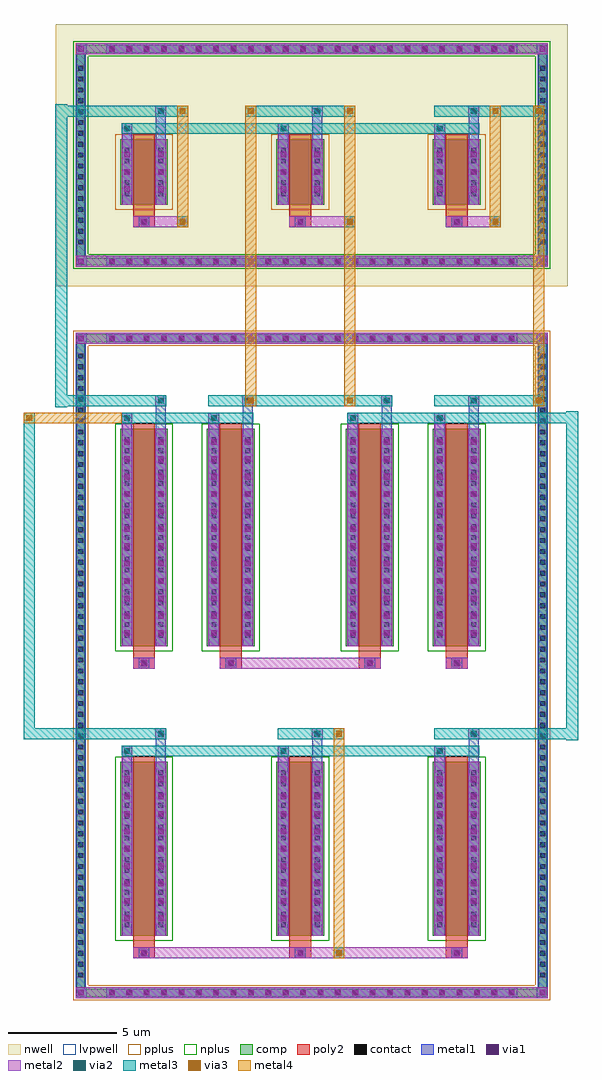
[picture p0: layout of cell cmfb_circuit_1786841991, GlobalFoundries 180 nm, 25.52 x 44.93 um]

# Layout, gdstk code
import gdstk
lib = gdstk.Library(unit=1e-6, precision=5e-09)
def R(c, l, rs):  # rectangles x0, y0, x1, y1
    for r in rs: c.add(gdstk.rectangle(r[:2], r[2:], *l))
def A(c, l, x, y, w, h, nx, ny, dx, dy):  # array of equal rectangles
    R(c, l, [(x+i*dx, y+j*dy, x+i*dx+w, y+j*dy+h) for i in range(nx) for j in range(ny)])
def P(c, l, *ps):  # polygons
    for p in ps: c.add(gdstk.Polygon(p, *l))
nwell = (21, 0)
comp = (22, 0)
poly2 = (30, 0)
pplus = (31, 0)
nplus = (32, 0)
contact = (33, 0)
metal1 = (34, 0)
via1 = (35, 0)
metal2 = (36, 0)
via2 = (38, 0)
via3 = (40, 0)
metal3 = (42, 0)
metal4 = (46, 0)
lvpwell = (204, 0)

unnamed_99d863ea = lib.new_cell('Unnamed_99d863ea')
R(unnamed_99d863ea, nwell, [(-1.45,-2.915,1.45,2.915)])
R(unnamed_99d863ea, comp, [(-1.1,-1.755,1.1,1.245)])
R(unnamed_99d863ea, poly2, [(-0.5,-2.795,0.5,-2.295), (-0.18,-2.725,0.18,-2.365), (-0.5,-2.295,0.5,-1.995), (-0.5,-1.995,0.5,1.485)])
R(unnamed_99d863ea, pplus, [(-1.33,-1.985,1.33,1.475)])
A(unnamed_99d863ea, contact, -0.89, -1.365, 0.22, 0.22, 1, 5, 0, 0.5)
A(unnamed_99d863ea, contact, 0.67, -1.365, 0.22, 0.22, 1, 5, 0, 0.5)
R(unnamed_99d863ea, contact, [(-0.11,-2.655,0.11,-2.435)])
A(unnamed_99d863ea, metal1, -1.01, -1.485, 0.46, 0.46, 1, 5, 0, 0.5)
A(unnamed_99d863ea, metal1, 0.55, -1.485, 0.46, 0.46, 1, 5, 0, 0.5)
A(unnamed_99d863ea, metal1, -1.03, -1.305, 0.5, 0.5, 1, 3, 0, 0.8)
A(unnamed_99d863ea, metal1, 0.53, -1.305, 0.5, 0.5, 1, 3, 0, 0.8)
R(unnamed_99d863ea, metal1, [(-0.25,-2.795,0.25,-2.295), (-1.01,-1.755,-0.55,1.245), (0.55,-1.755,1.01,1.245), (-1.03,-1.305,-0.53,0.795), (0.53,-1.305,1.03,0.795), (-1.01,1.245,-0.55,1.995), (0.55,1.245,1.01,2.795), (-1.03,1.495,-0.53,1.995), (0.53,2.295,1.03,2.795)])
A(unnamed_99d863ea, via1, -0.91, -1.185, 0.26, 0.26, 1, 3, 0, 0.8)
A(unnamed_99d863ea, via1, 0.65, -1.185, 0.26, 0.26, 1, 3, 0, 0.8)
R(unnamed_99d863ea, via1, [(-0.13,-2.675,0.13,-2.415), (-0.91,1.615,-0.65,1.875), (0.65,2.415,0.91,2.675)])
A(unnamed_99d863ea, metal2, -1.03, -1.305, 0.5, 0.5, 1, 3, 0, 0.8)
A(unnamed_99d863ea, metal2, 0.53, -1.305, 0.5, 0.5, 1, 3, 0, 0.8)
R(unnamed_99d863ea, metal2, [(-0.5,-2.795,0.5,-2.295), (-0.25,-2.795,0.25,-2.295), (-1.03,-1.755,-0.53,1.245), (0.53,-1.755,1.03,1.245), (-1.03,1.495,-0.53,1.995), (0.53,2.295,1.03,2.795)])
R(unnamed_99d863ea, via2, [(-0.91,1.615,-0.65,1.875), (0.65,2.415,0.91,2.675)])
R(unnamed_99d863ea, metal3, [(-1.03,1.495,-0.53,1.995), (-1.03,1.495,1.03,1.995), (-1.03,2.295,1.03,2.795), (0.53,2.295,1.03,2.795)])

unnamed_b100081d = lib.new_cell('Unnamed_b100081d')
R(unnamed_b100081d, nwell, [(-1.45,-2.915,1.45,2.915)])
R(unnamed_b100081d, comp, [(-1.1,-1.755,1.1,1.245)])
R(unnamed_b100081d, poly2, [(-0.5,-2.795,0.5,-2.295), (-0.18,-2.725,0.18,-2.365), (-0.5,-2.295,0.5,-1.995), (-0.5,-1.995,0.5,1.485)])
R(unnamed_b100081d, pplus, [(-1.33,-1.985,1.33,1.475)])
A(unnamed_b100081d, contact, -0.89, -1.365, 0.22, 0.22, 1, 5, 0, 0.5)
A(unnamed_b100081d, contact, 0.67, -1.365, 0.22, 0.22, 1, 5, 0, 0.5)
R(unnamed_b100081d, contact, [(-0.11,-2.655,0.11,-2.435)])
A(unnamed_b100081d, metal1, -1.01, -1.485, 0.46, 0.46, 1, 5, 0, 0.5)
A(unnamed_b100081d, metal1, 0.55, -1.485, 0.46, 0.46, 1, 5, 0, 0.5)
A(unnamed_b100081d, metal1, -1.03, -1.305, 0.5, 0.5, 1, 3, 0, 0.8)
A(unnamed_b100081d, metal1, 0.53, -1.305, 0.5, 0.5, 1, 3, 0, 0.8)
R(unnamed_b100081d, metal1, [(-0.25,-2.795,0.25,-2.295), (-1.01,-1.755,-0.55,1.245), (0.55,-1.755,1.01,1.245), (-1.03,-1.305,-0.53,0.795), (0.53,-1.305,1.03,0.795), (-1.01,1.245,-0.55,1.995), (0.55,1.245,1.01,2.795), (-1.03,1.495,-0.53,1.995), (0.53,2.295,1.03,2.795)])
A(unnamed_b100081d, via1, -0.91, -1.185, 0.26, 0.26, 1, 3, 0, 0.8)
A(unnamed_b100081d, via1, 0.65, -1.185, 0.26, 0.26, 1, 3, 0, 0.8)
R(unnamed_b100081d, via1, [(-0.13,-2.675,0.13,-2.415), (-0.91,1.615,-0.65,1.875), (0.65,2.415,0.91,2.675)])
A(unnamed_b100081d, metal2, -1.03, -1.305, 0.5, 0.5, 1, 3, 0, 0.8)
A(unnamed_b100081d, metal2, 0.53, -1.305, 0.5, 0.5, 1, 3, 0, 0.8)
R(unnamed_b100081d, metal2, [(-0.5,-2.795,0.5,-2.295), (-0.25,-2.795,0.25,-2.295), (-1.03,-1.755,-0.53,1.245), (0.53,-1.755,1.03,1.245), (-1.03,1.495,-0.53,1.995), (0.53,2.295,1.03,2.795)])
R(unnamed_b100081d, via2, [(-0.91,1.615,-0.65,1.875), (0.65,2.415,0.91,2.675)])
R(unnamed_b100081d, metal3, [(-1.03,1.495,-0.53,1.995), (-1.03,1.495,1.03,1.995), (-1.03,2.295,1.03,2.795), (0.53,2.295,1.03,2.795)])

unnamed_724cd2d7 = lib.new_cell('Unnamed_724cd2d7')
R(unnamed_724cd2d7, nwell, [(-1.45,-2.915,1.45,2.915)])
R(unnamed_724cd2d7, comp, [(-1.1,-1.755,1.1,1.245)])
R(unnamed_724cd2d7, poly2, [(-0.5,-2.795,0.5,-2.295), (-0.18,-2.725,0.18,-2.365), (-0.5,-2.295,0.5,-1.995), (-0.5,-1.995,0.5,1.485)])
R(unnamed_724cd2d7, pplus, [(-1.33,-1.985,1.33,1.475)])
A(unnamed_724cd2d7, contact, -0.89, -1.365, 0.22, 0.22, 1, 5, 0, 0.5)
A(unnamed_724cd2d7, contact, 0.67, -1.365, 0.22, 0.22, 1, 5, 0, 0.5)
R(unnamed_724cd2d7, contact, [(-0.11,-2.655,0.11,-2.435)])
A(unnamed_724cd2d7, metal1, -1.01, -1.485, 0.46, 0.46, 1, 5, 0, 0.5)
A(unnamed_724cd2d7, metal1, 0.55, -1.485, 0.46, 0.46, 1, 5, 0, 0.5)
A(unnamed_724cd2d7, metal1, -1.03, -1.305, 0.5, 0.5, 1, 3, 0, 0.8)
A(unnamed_724cd2d7, metal1, 0.53, -1.305, 0.5, 0.5, 1, 3, 0, 0.8)
R(unnamed_724cd2d7, metal1, [(-0.25,-2.795,0.25,-2.295), (-1.01,-1.755,-0.55,1.245), (0.55,-1.755,1.01,1.245), (-1.03,-1.305,-0.53,0.795), (0.53,-1.305,1.03,0.795), (-1.01,1.245,-0.55,1.995), (0.55,1.245,1.01,2.795), (-1.03,1.495,-0.53,1.995), (0.53,2.295,1.03,2.795)])
A(unnamed_724cd2d7, via1, -0.91, -1.185, 0.26, 0.26, 1, 3, 0, 0.8)
A(unnamed_724cd2d7, via1, 0.65, -1.185, 0.26, 0.26, 1, 3, 0, 0.8)
R(unnamed_724cd2d7, via1, [(-0.13,-2.675,0.13,-2.415), (-0.91,1.615,-0.65,1.875), (0.65,2.415,0.91,2.675)])
A(unnamed_724cd2d7, metal2, -1.03, -1.305, 0.5, 0.5, 1, 3, 0, 0.8)
A(unnamed_724cd2d7, metal2, 0.53, -1.305, 0.5, 0.5, 1, 3, 0, 0.8)
R(unnamed_724cd2d7, metal2, [(-0.5,-2.795,0.5,-2.295), (-0.25,-2.795,0.25,-2.295), (-1.03,-1.755,-0.53,1.245), (0.53,-1.755,1.03,1.245), (-1.03,1.495,-0.53,1.995), (0.53,2.295,1.03,2.795)])
R(unnamed_724cd2d7, via2, [(-0.91,1.615,-0.65,1.875), (0.65,2.415,0.91,2.675)])
R(unnamed_724cd2d7, metal3, [(-1.03,1.495,-0.53,1.995), (-1.03,1.495,1.03,1.995), (-1.03,2.295,1.03,2.795), (0.53,2.295,1.03,2.795)])

unnamed_6b7dd680 = lib.new_cell('Unnamed_6b7dd680')
R(unnamed_6b7dd680, comp, [(-1.1,-5.255,1.1,4.745)])
R(unnamed_6b7dd680, poly2, [(-0.5,-6.295,0.5,-5.795), (-0.18,-6.225,0.18,-5.865), (-0.5,-5.795,0.5,-5.495), (-0.5,-5.495,0.5,4.985)])
R(unnamed_6b7dd680, nplus, [(-1.33,-5.485,1.33,4.975)])
A(unnamed_6b7dd680, contact, -0.89, -4.865, 0.22, 0.22, 1, 19, 0, 0.5)
A(unnamed_6b7dd680, contact, 0.67, -4.865, 0.22, 0.22, 1, 19, 0, 0.5)
R(unnamed_6b7dd680, contact, [(-0.11,-6.155,0.11,-5.935)])
A(unnamed_6b7dd680, metal1, -1.01, -4.985, 0.46, 0.46, 1, 19, 0, 0.5)
A(unnamed_6b7dd680, metal1, 0.55, -4.985, 0.46, 0.46, 1, 19, 0, 0.5)
A(unnamed_6b7dd680, metal1, -1.03, -4.905, 0.5, 0.5, 1, 12, 0, 0.8)
A(unnamed_6b7dd680, metal1, 0.53, -4.905, 0.5, 0.5, 1, 12, 0, 0.8)
R(unnamed_6b7dd680, metal1, [(-0.25,-6.295,0.25,-5.795), (-1.01,-5.255,-0.55,4.745), (0.55,-5.255,1.01,4.745), (-1.03,-4.905,-0.53,4.395), (0.53,-4.905,1.03,4.395), (-1.01,4.745,-0.55,5.495), (0.55,4.745,1.01,6.295), (-1.03,4.995,-0.53,5.495), (0.53,5.795,1.03,6.295)])
A(unnamed_6b7dd680, via1, -0.91, -4.785, 0.26, 0.26, 1, 12, 0, 0.8)
A(unnamed_6b7dd680, via1, 0.65, -4.785, 0.26, 0.26, 1, 12, 0, 0.8)
R(unnamed_6b7dd680, via1, [(-0.13,-6.175,0.13,-5.915), (-0.91,5.115,-0.65,5.375), (0.65,5.915,0.91,6.175)])
A(unnamed_6b7dd680, metal2, -1.03, -4.905, 0.5, 0.5, 1, 12, 0, 0.8)
A(unnamed_6b7dd680, metal2, 0.53, -4.905, 0.5, 0.5, 1, 12, 0, 0.8)
R(unnamed_6b7dd680, metal2, [(-0.5,-6.295,0.5,-5.795), (-0.25,-6.295,0.25,-5.795), (-1.03,-5.255,-0.53,4.745), (0.53,-5.255,1.03,4.745), (-1.03,4.995,-0.53,5.495), (0.53,5.795,1.03,6.295)])
R(unnamed_6b7dd680, via2, [(-0.91,5.115,-0.65,5.375), (0.65,5.915,0.91,6.175)])
R(unnamed_6b7dd680, metal3, [(-1.03,4.995,-0.53,5.495), (-1.03,4.995,1.03,5.495), (-1.03,5.795,1.03,6.295), (0.53,5.795,1.03,6.295)])
R(unnamed_6b7dd680, lvpwell, [(-1.45,-6.415,1.45,6.415)])

unnamed_0d4af0c3 = lib.new_cell('Unnamed_0d4af0c3')
R(unnamed_0d4af0c3, comp, [(-1.1,-5.255,1.1,4.745)])
R(unnamed_0d4af0c3, poly2, [(-0.5,-6.295,0.5,-5.795), (-0.18,-6.225,0.18,-5.865), (-0.5,-5.795,0.5,-5.495), (-0.5,-5.495,0.5,4.985)])
R(unnamed_0d4af0c3, nplus, [(-1.33,-5.485,1.33,4.975)])
A(unnamed_0d4af0c3, contact, -0.89, -4.865, 0.22, 0.22, 1, 19, 0, 0.5)
A(unnamed_0d4af0c3, contact, 0.67, -4.865, 0.22, 0.22, 1, 19, 0, 0.5)
R(unnamed_0d4af0c3, contact, [(-0.11,-6.155,0.11,-5.935)])
A(unnamed_0d4af0c3, metal1, -1.01, -4.985, 0.46, 0.46, 1, 19, 0, 0.5)
A(unnamed_0d4af0c3, metal1, 0.55, -4.985, 0.46, 0.46, 1, 19, 0, 0.5)
A(unnamed_0d4af0c3, metal1, -1.03, -4.905, 0.5, 0.5, 1, 12, 0, 0.8)
A(unnamed_0d4af0c3, metal1, 0.53, -4.905, 0.5, 0.5, 1, 12, 0, 0.8)
R(unnamed_0d4af0c3, metal1, [(-0.25,-6.295,0.25,-5.795), (-1.01,-5.255,-0.55,4.745), (0.55,-5.255,1.01,4.745), (-1.03,-4.905,-0.53,4.395), (0.53,-4.905,1.03,4.395), (-1.01,4.745,-0.55,5.495), (0.55,4.745,1.01,6.295), (-1.03,4.995,-0.53,5.495), (0.53,5.795,1.03,6.295)])
A(unnamed_0d4af0c3, via1, -0.91, -4.785, 0.26, 0.26, 1, 12, 0, 0.8)
A(unnamed_0d4af0c3, via1, 0.65, -4.785, 0.26, 0.26, 1, 12, 0, 0.8)
R(unnamed_0d4af0c3, via1, [(-0.13,-6.175,0.13,-5.915), (-0.91,5.115,-0.65,5.375), (0.65,5.915,0.91,6.175)])
A(unnamed_0d4af0c3, metal2, -1.03, -4.905, 0.5, 0.5, 1, 12, 0, 0.8)
A(unnamed_0d4af0c3, metal2, 0.53, -4.905, 0.5, 0.5, 1, 12, 0, 0.8)
R(unnamed_0d4af0c3, metal2, [(-0.5,-6.295,0.5,-5.795), (-0.25,-6.295,0.25,-5.795), (-1.03,-5.255,-0.53,4.745), (0.53,-5.255,1.03,4.745), (-1.03,4.995,-0.53,5.495), (0.53,5.795,1.03,6.295)])
R(unnamed_0d4af0c3, via2, [(-0.91,5.115,-0.65,5.375), (0.65,5.915,0.91,6.175)])
R(unnamed_0d4af0c3, metal3, [(-1.03,4.995,-0.53,5.495), (-1.03,4.995,1.03,5.495), (-1.03,5.795,1.03,6.295), (0.53,5.795,1.03,6.295)])
R(unnamed_0d4af0c3, lvpwell, [(-1.45,-6.415,1.45,6.415)])

unnamed_9ebab524 = lib.new_cell('Unnamed_9ebab524')
R(unnamed_9ebab524, comp, [(-1.1,-5.255,1.1,4.745)])
R(unnamed_9ebab524, poly2, [(-0.5,-6.295,0.5,-5.795), (-0.18,-6.225,0.18,-5.865), (-0.5,-5.795,0.5,-5.495), (-0.5,-5.495,0.5,4.985)])
R(unnamed_9ebab524, nplus, [(-1.33,-5.485,1.33,4.975)])
A(unnamed_9ebab524, contact, -0.89, -4.865, 0.22, 0.22, 1, 19, 0, 0.5)
A(unnamed_9ebab524, contact, 0.67, -4.865, 0.22, 0.22, 1, 19, 0, 0.5)
R(unnamed_9ebab524, contact, [(-0.11,-6.155,0.11,-5.935)])
A(unnamed_9ebab524, metal1, -1.01, -4.985, 0.46, 0.46, 1, 19, 0, 0.5)
A(unnamed_9ebab524, metal1, 0.55, -4.985, 0.46, 0.46, 1, 19, 0, 0.5)
A(unnamed_9ebab524, metal1, -1.03, -4.905, 0.5, 0.5, 1, 12, 0, 0.8)
A(unnamed_9ebab524, metal1, 0.53, -4.905, 0.5, 0.5, 1, 12, 0, 0.8)
R(unnamed_9ebab524, metal1, [(-0.25,-6.295,0.25,-5.795), (-1.01,-5.255,-0.55,4.745), (0.55,-5.255,1.01,4.745), (-1.03,-4.905,-0.53,4.395), (0.53,-4.905,1.03,4.395), (-1.01,4.745,-0.55,5.495), (0.55,4.745,1.01,6.295), (-1.03,4.995,-0.53,5.495), (0.53,5.795,1.03,6.295)])
A(unnamed_9ebab524, via1, -0.91, -4.785, 0.26, 0.26, 1, 12, 0, 0.8)
A(unnamed_9ebab524, via1, 0.65, -4.785, 0.26, 0.26, 1, 12, 0, 0.8)
R(unnamed_9ebab524, via1, [(-0.13,-6.175,0.13,-5.915), (-0.91,5.115,-0.65,5.375), (0.65,5.915,0.91,6.175)])
A(unnamed_9ebab524, metal2, -1.03, -4.905, 0.5, 0.5, 1, 12, 0, 0.8)
A(unnamed_9ebab524, metal2, 0.53, -4.905, 0.5, 0.5, 1, 12, 0, 0.8)
R(unnamed_9ebab524, metal2, [(-0.5,-6.295,0.5,-5.795), (-0.25,-6.295,0.25,-5.795), (-1.03,-5.255,-0.53,4.745), (0.53,-5.255,1.03,4.745), (-1.03,4.995,-0.53,5.495), (0.53,5.795,1.03,6.295)])
R(unnamed_9ebab524, via2, [(-0.91,5.115,-0.65,5.375), (0.65,5.915,0.91,6.175)])
R(unnamed_9ebab524, metal3, [(-1.03,4.995,-0.53,5.495), (-1.03,4.995,1.03,5.495), (-1.03,5.795,1.03,6.295), (0.53,5.795,1.03,6.295)])
R(unnamed_9ebab524, lvpwell, [(-1.45,-6.415,1.45,6.415)])

unnamed_8c9a08c9 = lib.new_cell('Unnamed_8c9a08c9')
R(unnamed_8c9a08c9, comp, [(-1.1,-5.255,1.1,4.745)])
R(unnamed_8c9a08c9, poly2, [(-0.5,-6.295,0.5,-5.795), (-0.18,-6.225,0.18,-5.865), (-0.5,-5.795,0.5,-5.495), (-0.5,-5.495,0.5,4.985)])
R(unnamed_8c9a08c9, nplus, [(-1.33,-5.485,1.33,4.975)])
A(unnamed_8c9a08c9, contact, -0.89, -4.865, 0.22, 0.22, 1, 19, 0, 0.5)
A(unnamed_8c9a08c9, contact, 0.67, -4.865, 0.22, 0.22, 1, 19, 0, 0.5)
R(unnamed_8c9a08c9, contact, [(-0.11,-6.155,0.11,-5.935)])
A(unnamed_8c9a08c9, metal1, -1.01, -4.985, 0.46, 0.46, 1, 19, 0, 0.5)
A(unnamed_8c9a08c9, metal1, 0.55, -4.985, 0.46, 0.46, 1, 19, 0, 0.5)
A(unnamed_8c9a08c9, metal1, -1.03, -4.905, 0.5, 0.5, 1, 12, 0, 0.8)
A(unnamed_8c9a08c9, metal1, 0.53, -4.905, 0.5, 0.5, 1, 12, 0, 0.8)
R(unnamed_8c9a08c9, metal1, [(-0.25,-6.295,0.25,-5.795), (-1.01,-5.255,-0.55,4.745), (0.55,-5.255,1.01,4.745), (-1.03,-4.905,-0.53,4.395), (0.53,-4.905,1.03,4.395), (-1.01,4.745,-0.55,5.495), (0.55,4.745,1.01,6.295), (-1.03,4.995,-0.53,5.495), (0.53,5.795,1.03,6.295)])
A(unnamed_8c9a08c9, via1, -0.91, -4.785, 0.26, 0.26, 1, 12, 0, 0.8)
A(unnamed_8c9a08c9, via1, 0.65, -4.785, 0.26, 0.26, 1, 12, 0, 0.8)
R(unnamed_8c9a08c9, via1, [(-0.13,-6.175,0.13,-5.915), (-0.91,5.115,-0.65,5.375), (0.65,5.915,0.91,6.175)])
A(unnamed_8c9a08c9, metal2, -1.03, -4.905, 0.5, 0.5, 1, 12, 0, 0.8)
A(unnamed_8c9a08c9, metal2, 0.53, -4.905, 0.5, 0.5, 1, 12, 0, 0.8)
R(unnamed_8c9a08c9, metal2, [(-0.5,-6.295,0.5,-5.795), (-0.25,-6.295,0.25,-5.795), (-1.03,-5.255,-0.53,4.745), (0.53,-5.255,1.03,4.745), (-1.03,4.995,-0.53,5.495), (0.53,5.795,1.03,6.295)])
R(unnamed_8c9a08c9, via2, [(-0.91,5.115,-0.65,5.375), (0.65,5.915,0.91,6.175)])
R(unnamed_8c9a08c9, metal3, [(-1.03,4.995,-0.53,5.495), (-1.03,4.995,1.03,5.495), (-1.03,5.795,1.03,6.295), (0.53,5.795,1.03,6.295)])
R(unnamed_8c9a08c9, lvpwell, [(-1.45,-6.415,1.45,6.415)])

unnamed_374ca18e = lib.new_cell('Unnamed_374ca18e')
R(unnamed_374ca18e, comp, [(-1.1,-4.255,1.1,3.745)])
R(unnamed_374ca18e, poly2, [(-0.5,-5.295,0.5,-4.795), (-0.18,-5.225,0.18,-4.865), (-0.5,-4.795,0.5,-4.495), (-0.5,-4.495,0.5,3.985)])
R(unnamed_374ca18e, nplus, [(-1.33,-4.485,1.33,3.975)])
A(unnamed_374ca18e, contact, -0.89, -3.865, 0.22, 0.22, 1, 15, 0, 0.5)
A(unnamed_374ca18e, contact, 0.67, -3.865, 0.22, 0.22, 1, 15, 0, 0.5)
R(unnamed_374ca18e, contact, [(-0.11,-5.155,0.11,-4.935)])
A(unnamed_374ca18e, metal1, -1.01, -3.985, 0.46, 0.46, 1, 15, 0, 0.5)
A(unnamed_374ca18e, metal1, 0.55, -3.985, 0.46, 0.46, 1, 15, 0, 0.5)
A(unnamed_374ca18e, metal1, -1.03, -3.705, 0.5, 0.5, 1, 9, 0, 0.8)
A(unnamed_374ca18e, metal1, 0.53, -3.705, 0.5, 0.5, 1, 9, 0, 0.8)
R(unnamed_374ca18e, metal1, [(-0.25,-5.295,0.25,-4.795), (-1.01,-4.255,-0.55,3.745), (0.55,-4.255,1.01,3.745), (-1.03,-3.705,-0.53,3.195), (0.53,-3.705,1.03,3.195), (-1.01,3.745,-0.55,4.495), (0.55,3.745,1.01,5.295), (-1.03,3.995,-0.53,4.495), (0.53,4.795,1.03,5.295)])
A(unnamed_374ca18e, via1, -0.91, -3.585, 0.26, 0.26, 1, 9, 0, 0.8)
A(unnamed_374ca18e, via1, 0.65, -3.585, 0.26, 0.26, 1, 9, 0, 0.8)
R(unnamed_374ca18e, via1, [(-0.13,-5.175,0.13,-4.915), (-0.91,4.115,-0.65,4.375), (0.65,4.915,0.91,5.175)])
A(unnamed_374ca18e, metal2, -1.03, -3.705, 0.5, 0.5, 1, 9, 0, 0.8)
A(unnamed_374ca18e, metal2, 0.53, -3.705, 0.5, 0.5, 1, 9, 0, 0.8)
R(unnamed_374ca18e, metal2, [(-0.5,-5.295,0.5,-4.795), (-0.25,-5.295,0.25,-4.795), (-1.03,-4.255,-0.53,3.745), (0.53,-4.255,1.03,3.745), (-1.03,3.995,-0.53,4.495), (0.53,4.795,1.03,5.295)])
R(unnamed_374ca18e, via2, [(-0.91,4.115,-0.65,4.375), (0.65,4.915,0.91,5.175)])
R(unnamed_374ca18e, metal3, [(-1.03,3.995,-0.53,4.495), (-1.03,3.995,1.03,4.495), (-1.03,4.795,1.03,5.295), (0.53,4.795,1.03,5.295)])
R(unnamed_374ca18e, lvpwell, [(-1.45,-5.415,1.45,5.415)])

unnamed_d420d16e = lib.new_cell('Unnamed_d420d16e')
R(unnamed_d420d16e, comp, [(-1.1,-4.255,1.1,3.745)])
R(unnamed_d420d16e, poly2, [(-0.5,-5.295,0.5,-4.795), (-0.18,-5.225,0.18,-4.865), (-0.5,-4.795,0.5,-4.495), (-0.5,-4.495,0.5,3.985)])
R(unnamed_d420d16e, nplus, [(-1.33,-4.485,1.33,3.975)])
A(unnamed_d420d16e, contact, -0.89, -3.865, 0.22, 0.22, 1, 15, 0, 0.5)
A(unnamed_d420d16e, contact, 0.67, -3.865, 0.22, 0.22, 1, 15, 0, 0.5)
R(unnamed_d420d16e, contact, [(-0.11,-5.155,0.11,-4.935)])
A(unnamed_d420d16e, metal1, -1.01, -3.985, 0.46, 0.46, 1, 15, 0, 0.5)
A(unnamed_d420d16e, metal1, 0.55, -3.985, 0.46, 0.46, 1, 15, 0, 0.5)
A(unnamed_d420d16e, metal1, -1.03, -3.705, 0.5, 0.5, 1, 9, 0, 0.8)
A(unnamed_d420d16e, metal1, 0.53, -3.705, 0.5, 0.5, 1, 9, 0, 0.8)
R(unnamed_d420d16e, metal1, [(-0.25,-5.295,0.25,-4.795), (-1.01,-4.255,-0.55,3.745), (0.55,-4.255,1.01,3.745), (-1.03,-3.705,-0.53,3.195), (0.53,-3.705,1.03,3.195), (-1.01,3.745,-0.55,4.495), (0.55,3.745,1.01,5.295), (-1.03,3.995,-0.53,4.495), (0.53,4.795,1.03,5.295)])
A(unnamed_d420d16e, via1, -0.91, -3.585, 0.26, 0.26, 1, 9, 0, 0.8)
A(unnamed_d420d16e, via1, 0.65, -3.585, 0.26, 0.26, 1, 9, 0, 0.8)
R(unnamed_d420d16e, via1, [(-0.13,-5.175,0.13,-4.915), (-0.91,4.115,-0.65,4.375), (0.65,4.915,0.91,5.175)])
A(unnamed_d420d16e, metal2, -1.03, -3.705, 0.5, 0.5, 1, 9, 0, 0.8)
A(unnamed_d420d16e, metal2, 0.53, -3.705, 0.5, 0.5, 1, 9, 0, 0.8)
R(unnamed_d420d16e, metal2, [(-0.5,-5.295,0.5,-4.795), (-0.25,-5.295,0.25,-4.795), (-1.03,-4.255,-0.53,3.745), (0.53,-4.255,1.03,3.745), (-1.03,3.995,-0.53,4.495), (0.53,4.795,1.03,5.295)])
R(unnamed_d420d16e, via2, [(-0.91,4.115,-0.65,4.375), (0.65,4.915,0.91,5.175)])
R(unnamed_d420d16e, metal3, [(-1.03,3.995,-0.53,4.495), (-1.03,3.995,1.03,4.495), (-1.03,4.795,1.03,5.295), (0.53,4.795,1.03,5.295)])
R(unnamed_d420d16e, lvpwell, [(-1.45,-5.415,1.45,5.415)])

unnamed_8b59ac5c = lib.new_cell('Unnamed_8b59ac5c')
R(unnamed_8b59ac5c, comp, [(-1.1,-4.255,1.1,3.745)])
R(unnamed_8b59ac5c, poly2, [(-0.5,-5.295,0.5,-4.795), (-0.18,-5.225,0.18,-4.865), (-0.5,-4.795,0.5,-4.495), (-0.5,-4.495,0.5,3.985)])
R(unnamed_8b59ac5c, nplus, [(-1.33,-4.485,1.33,3.975)])
A(unnamed_8b59ac5c, contact, -0.89, -3.865, 0.22, 0.22, 1, 15, 0, 0.5)
A(unnamed_8b59ac5c, contact, 0.67, -3.865, 0.22, 0.22, 1, 15, 0, 0.5)
R(unnamed_8b59ac5c, contact, [(-0.11,-5.155,0.11,-4.935)])
A(unnamed_8b59ac5c, metal1, -1.01, -3.985, 0.46, 0.46, 1, 15, 0, 0.5)
A(unnamed_8b59ac5c, metal1, 0.55, -3.985, 0.46, 0.46, 1, 15, 0, 0.5)
A(unnamed_8b59ac5c, metal1, -1.03, -3.705, 0.5, 0.5, 1, 9, 0, 0.8)
A(unnamed_8b59ac5c, metal1, 0.53, -3.705, 0.5, 0.5, 1, 9, 0, 0.8)
R(unnamed_8b59ac5c, metal1, [(-0.25,-5.295,0.25,-4.795), (-1.01,-4.255,-0.55,3.745), (0.55,-4.255,1.01,3.745), (-1.03,-3.705,-0.53,3.195), (0.53,-3.705,1.03,3.195), (-1.01,3.745,-0.55,4.495), (0.55,3.745,1.01,5.295), (-1.03,3.995,-0.53,4.495), (0.53,4.795,1.03,5.295)])
A(unnamed_8b59ac5c, via1, -0.91, -3.585, 0.26, 0.26, 1, 9, 0, 0.8)
A(unnamed_8b59ac5c, via1, 0.65, -3.585, 0.26, 0.26, 1, 9, 0, 0.8)
R(unnamed_8b59ac5c, via1, [(-0.13,-5.175,0.13,-4.915), (-0.91,4.115,-0.65,4.375), (0.65,4.915,0.91,5.175)])
A(unnamed_8b59ac5c, metal2, -1.03, -3.705, 0.5, 0.5, 1, 9, 0, 0.8)
A(unnamed_8b59ac5c, metal2, 0.53, -3.705, 0.5, 0.5, 1, 9, 0, 0.8)
R(unnamed_8b59ac5c, metal2, [(-0.5,-5.295,0.5,-4.795), (-0.25,-5.295,0.25,-4.795), (-1.03,-4.255,-0.53,3.745), (0.53,-4.255,1.03,3.745), (-1.03,3.995,-0.53,4.495), (0.53,4.795,1.03,5.295)])
R(unnamed_8b59ac5c, via2, [(-0.91,4.115,-0.65,4.375), (0.65,4.915,0.91,5.175)])
R(unnamed_8b59ac5c, metal3, [(-1.03,3.995,-0.53,4.495), (-1.03,3.995,1.03,4.495), (-1.03,4.795,1.03,5.295), (0.53,4.795,1.03,5.295)])
R(unnamed_8b59ac5c, lvpwell, [(-1.45,-5.415,1.45,5.415)])

unnamed_7fb3ace8_1 = lib.new_cell('Unnamed_7fb3ace8$1')
A(unnamed_7fb3ace8_1, comp, -9.38, -15.24, 0.36, 0.36, 24, 2, 0.8, 30.12)
A(unnamed_7fb3ace8_1, comp, -10.815, -14.43, 0.36, 0.36, 1, 58, 0, 0.5)
A(unnamed_7fb3ace8_1, comp, 10.455, -14.43, 0.36, 0.36, 1, 58, 0, 0.5)
R(unnamed_7fb3ace8_1, comp, [(-9.38,-15.24,9.38,-14.88), (-10.815,-14.43,-10.455,14.43), (10.455,-14.43,10.815,14.43), (-9.38,14.88,9.38,15.24)])
P(unnamed_7fb3ace8_1, comp, [(-10.815,-15.24),(-10.815,-14.88),(-10.455,-14.88),(10.455,-14.88),(10.455,14.88),(-10.455,14.88),(-10.455,-14.88),(-10.815,-14.88),(-10.815,15.24),(10.815,15.24),(10.815,-15.24)])
P(unnamed_7fb3ace8_1, pplus, [(-10.975,-15.4),(-10.975,-14.72),(-10.295,-14.72),(10.295,-14.72),(10.295,14.72),(-10.295,14.72),(-10.295,-14.72),(-10.975,-14.72),(-10.975,15.4),(10.975,15.4),(10.975,-15.4)])
A(unnamed_7fb3ace8_1, contact, -9.31, -15.17, 0.22, 0.22, 24, 2, 0.8, 30.12)
A(unnamed_7fb3ace8_1, contact, -10.745, -14.36, 0.22, 0.22, 1, 58, 0, 0.5)
A(unnamed_7fb3ace8_1, contact, 10.525, -14.36, 0.22, 0.22, 1, 58, 0, 0.5)
A(unnamed_7fb3ace8_1, metal1, -9.45, -15.31, 0.5, 0.5, 24, 2, 0.8, 30.12)
A(unnamed_7fb3ace8_1, metal1, -10.865, -14.48, 0.46, 0.46, 1, 58, 0, 0.5)
A(unnamed_7fb3ace8_1, metal1, 10.405, -14.48, 0.46, 0.46, 1, 58, 0, 0.5)
R(unnamed_7fb3ace8_1, metal1, [(-10.865,-15.31,-10.365,-14.81), (-10.865,-15.31,-10.365,-14.81), (-10.865,-15.31,-10.405,-14.88), (-9.45,-15.31,9.45,-14.81), (10.365,-15.31,10.865,-14.81), (10.365,-15.31,10.865,-14.81), (10.405,-15.31,10.865,-14.88), (-10.865,-14.88,-10.405,14.88), (10.405,-14.88,10.865,14.88), (-10.865,14.81,-10.365,15.31), (-10.865,14.81,-10.365,15.31), (-9.45,14.81,9.45,15.31), (10.365,14.81,10.865,15.31), (10.365,14.81,10.865,15.31), (-10.865,14.88,-10.405,15.31), (10.405,14.88,10.865,15.31)])
A(unnamed_7fb3ace8_1, via1, -9.33, -15.19, 0.26, 0.26, 24, 2, 0.8, 30.12)
R(unnamed_7fb3ace8_1, via1, [(-10.745,-15.19,-10.485,-14.93), (10.485,-15.19,10.745,-14.93), (-10.745,14.93,-10.485,15.19), (10.485,14.93,10.745,15.19)])
A(unnamed_7fb3ace8_1, metal2, -9.45, -15.31, 0.5, 0.5, 24, 2, 0.8, 30.12)
R(unnamed_7fb3ace8_1, metal2, [(-10.865,-15.31,-10.455,-14.81), (-10.865,-15.31,-10.365,-14.81), (-10.865,-15.31,-10.365,-14.81), (-10.455,-15.31,10.455,-14.81), (10.365,-15.31,10.865,-14.81), (10.365,-15.31,10.865,-14.81), (10.455,-15.31,10.865,-14.81), (-10.865,14.81,-10.455,15.31), (-10.865,14.81,-10.365,15.31), (-10.865,14.81,-10.365,15.31), (-10.455,14.81,10.455,15.31), (10.365,14.81,10.865,15.31), (10.365,14.81,10.865,15.31), (10.455,14.81,10.865,15.31)])

unnamed_f82331e1_1 = lib.new_cell('Unnamed_f82331e1$1')
A(unnamed_f82331e1_1, comp, -9.38, -5.075, 0.36, 0.36, 24, 2, 0.8, 9.79)
A(unnamed_f82331e1_1, comp, -10.815, -4.18, 0.36, 0.36, 1, 17, 0, 0.5)
A(unnamed_f82331e1_1, comp, 10.455, -4.18, 0.36, 0.36, 1, 17, 0, 0.5)
R(unnamed_f82331e1_1, comp, [(-9.38,-5.075,9.38,-4.715), (-10.815,-4.18,-10.455,4.18), (10.455,-4.18,10.815,4.18), (-9.38,4.715,9.38,5.075)])
P(unnamed_f82331e1_1, comp, [(-10.815,-5.075),(-10.815,-4.715),(-10.455,-4.715),(10.455,-4.715),(10.455,4.715),(-10.455,4.715),(-10.455,-4.715),(-10.815,-4.715),(-10.815,5.075),(10.815,5.075),(10.815,-5.075)])
P(unnamed_f82331e1_1, nplus, [(-10.975,-5.235),(-10.975,-4.555),(-10.295,-4.555),(10.295,-4.555),(10.295,4.555),(-10.295,4.555),(-10.295,-4.555),(-10.975,-4.555),(-10.975,5.235),(10.975,5.235),(10.975,-5.235)])
A(unnamed_f82331e1_1, contact, -9.31, -5.005, 0.22, 0.22, 24, 2, 0.8, 9.79)
A(unnamed_f82331e1_1, contact, -10.745, -4.11, 0.22, 0.22, 1, 17, 0, 0.5)
A(unnamed_f82331e1_1, contact, 10.525, -4.11, 0.22, 0.22, 1, 17, 0, 0.5)
A(unnamed_f82331e1_1, metal1, -9.45, -5.145, 0.5, 0.5, 24, 2, 0.8, 9.79)
A(unnamed_f82331e1_1, metal1, -10.865, -4.23, 0.46, 0.46, 1, 17, 0, 0.5)
A(unnamed_f82331e1_1, metal1, 10.405, -4.23, 0.46, 0.46, 1, 17, 0, 0.5)
R(unnamed_f82331e1_1, metal1, [(-10.865,-5.145,-10.365,-4.645), (-10.865,-5.145,-10.365,-4.645), (-10.865,-5.145,-10.405,-4.715), (-9.45,-5.145,9.45,-4.645), (10.365,-5.145,10.865,-4.645), (10.365,-5.145,10.865,-4.645), (10.405,-5.145,10.865,-4.715), (-10.865,-4.715,-10.405,4.715), (10.405,-4.715,10.865,4.715), (-10.865,4.645,-10.365,5.145), (-10.865,4.645,-10.365,5.145), (-9.45,4.645,9.45,5.145), (10.365,4.645,10.865,5.145), (10.365,4.645,10.865,5.145), (-10.865,4.715,-10.405,5.145), (10.405,4.715,10.865,5.145)])
A(unnamed_f82331e1_1, via1, -9.33, -5.025, 0.26, 0.26, 24, 2, 0.8, 9.79)
R(unnamed_f82331e1_1, via1, [(-10.745,-5.025,-10.485,-4.765), (10.485,-5.025,10.745,-4.765), (-10.745,4.765,-10.485,5.025), (10.485,4.765,10.745,5.025)])
A(unnamed_f82331e1_1, metal2, -9.45, -5.145, 0.5, 0.5, 24, 2, 0.8, 9.79)
R(unnamed_f82331e1_1, metal2, [(-10.865,-5.145,-10.455,-4.645), (-10.865,-5.145,-10.365,-4.645), (-10.865,-5.145,-10.365,-4.645), (-10.455,-5.145,10.455,-4.645), (10.365,-5.145,10.865,-4.645), (10.365,-5.145,10.865,-4.645), (10.455,-5.145,10.865,-4.645), (-10.865,4.645,-10.455,5.145), (-10.865,4.645,-10.365,5.145), (-10.865,4.645,-10.365,5.145), (-10.455,4.645,10.455,5.145), (10.365,4.645,10.865,5.145), (10.365,4.645,10.865,5.145), (10.455,4.645,10.865,5.145)])

c_route_06cb7801 = lib.new_cell('c_route_06cb7801')
R(c_route_06cb7801, metal2, [(-6.7,28.365,-5.17,28.865), (-5.67,28.365,-5.17,28.865)])
R(c_route_06cb7801, via2, [(-5.55,28.485,-5.29,28.745)])
R(c_route_06cb7801, via3, [(-5.55,28.485,-5.29,28.745), (-5.55,33.575,-5.29,33.835)])
R(c_route_06cb7801, metal3, [(-5.67,28.365,-5.17,28.865), (-6.17,33.455,-5.17,33.955), (-5.67,33.455,-5.17,33.955)])
R(c_route_06cb7801, metal4, [(-5.67,28.365,-5.17,28.865), (-5.67,28.365,-5.17,33.955), (-5.67,33.455,-5.17,33.955)])
P(c_route_06cb7801, metal4, [(-5.17,28.365),(-5.17,28.865),(-5.17,28.865),(-5.17,28.365)],
  [(-5.17,33.455),(-5.17,33.955),(-5.17,33.955),(-5.17,33.455)])

c_route_da4d12c7_1 = lib.new_cell('c_route_da4d12c7$1')
R(c_route_da4d12c7_1, metal2, [(0.5,28.365,2.53,28.865), (2.03,28.365,2.53,28.865)])
R(c_route_da4d12c7_1, via2, [(2.15,28.485,2.41,28.745)])
R(c_route_da4d12c7_1, via3, [(2.15,28.485,2.41,28.745), (2.15,33.575,2.41,33.835)])
R(c_route_da4d12c7_1, metal3, [(2.03,28.365,2.53,28.865), (1.03,33.455,2.53,33.955), (2.03,33.455,2.53,33.955)])
R(c_route_da4d12c7_1, metal4, [(2.03,28.365,2.53,28.865), (2.03,28.365,2.53,33.955), (2.03,33.455,2.53,33.955)])
P(c_route_da4d12c7_1, metal4, [(2.53,28.365),(2.53,28.865),(2.53,28.865),(2.53,28.365)],
  [(2.53,33.455),(2.53,33.955),(2.53,33.955),(2.53,33.455)])

c_route_38333aae = lib.new_cell('c_route_38333aae')
R(c_route_38333aae, metal2, [(7.7,28.365,9.23,28.865), (8.73,28.365,9.23,28.865)])
R(c_route_38333aae, via2, [(8.85,28.485,9.11,28.745)])
R(c_route_38333aae, via3, [(8.85,28.485,9.11,28.745), (8.85,33.575,9.11,33.835)])
R(c_route_38333aae, metal3, [(8.73,28.365,9.23,28.865), (8.23,33.455,9.23,33.955), (8.73,33.455,9.23,33.955)])
R(c_route_38333aae, metal4, [(8.73,28.365,9.23,28.865), (8.73,28.365,9.23,33.955), (8.73,33.455,9.23,33.955)])
P(c_route_38333aae, metal4, [(9.23,28.365),(9.23,28.865),(9.23,28.865),(9.23,28.365)],
  [(9.23,33.455),(9.23,33.955),(9.23,33.955),(9.23,33.455)])

c_route_dfe8e5e8_25 = lib.new_cell('c_route_dfe8e5e8$25')
R(c_route_dfe8e5e8_25, metal2, [(0.5,-5.295,2.03,-4.795), (1.53,-5.295,2.03,-4.795)])
R(c_route_dfe8e5e8_25, via2, [(1.65,-5.175,1.91,-4.915)])
R(c_route_dfe8e5e8_25, via3, [(1.65,-5.175,1.91,-4.915), (1.65,4.915,1.91,5.175)])
R(c_route_dfe8e5e8_25, metal3, [(1.53,-5.295,2.03,-4.795), (1.03,4.795,2.03,5.295), (1.53,4.795,2.03,5.295)])
R(c_route_dfe8e5e8_25, metal4, [(1.53,-5.295,2.03,-4.795), (1.53,-5.295,2.03,5.295), (1.53,4.795,2.03,5.295)])
P(c_route_dfe8e5e8_25, metal4, [(2.03,-5.295),(2.03,-4.795),(2.03,-4.795),(2.03,-5.295)],
  [(2.03,4.795),(2.03,5.295),(2.03,5.295),(2.03,4.795)])

straight_route_cdd4bdcd = lib.new_cell('straight_route_cdd4bdcd')
R(straight_route_cdd4bdcd, metal3, [(-6.17,3.995,-1.03,4.495)])

straight_route_e0118fe2 = lib.new_cell('straight_route_e0118fe2')
R(straight_route_e0118fe2, metal3, [(1.03,3.995,6.17,4.495)])

straight_route_7a71ad0b = lib.new_cell('straight_route_7a71ad0b')
R(straight_route_7a71ad0b, metal3, [(-6.17,32.655,-1.03,33.155)])

straight_route_803cee51 = lib.new_cell('straight_route_803cee51')
R(straight_route_803cee51, metal3, [(1.03,32.655,6.17,33.155)])

straight_route_d71d7a77 = lib.new_cell('straight_route_d71d7a77')
R(straight_route_d71d7a77, metal2, [(-6.7,-5.295,-0.5,-4.795)])

straight_route_9983e626 = lib.new_cell('straight_route_9983e626')
R(straight_route_9983e626, metal2, [(0.5,-5.295,6.7,-4.795)])

straight_route_689e5e6a = lib.new_cell('straight_route_689e5e6a')
R(straight_route_689e5e6a, metal2, [(-2.7,8.035,2.7,8.535)])

straight_route_f8a33765 = lib.new_cell('straight_route_f8a33765')
R(straight_route_f8a33765, metal3, [(-6.17,19.325,-4.23,19.825)])

c_route_64c6eef4 = lib.new_cell('c_route_64c6eef4')
R(c_route_64c6eef4, via3, [(-12.61,19.445,-12.35,19.705)])
R(c_route_64c6eef4, metal3, [(-12.73,4.795,-8.23,5.295), (-12.73,4.795,-12.23,5.295), (-12.73,4.795,-12.23,19.825), (-12.73,19.325,-12.23,19.825)])
P(c_route_64c6eef4, metal3, [(-12.23,4.795),(-12.23,5.295),(-12.23,5.295),(-12.23,4.795)],
  [(-12.23,19.325),(-12.23,19.825),(-12.23,19.825),(-12.23,19.325)])
R(c_route_64c6eef4, metal4, [(-12.73,19.325,-8.23,19.825), (-12.73,19.325,-12.23,19.825)])

straight_route_54b4fc0b = lib.new_cell('straight_route_54b4fc0b')
R(straight_route_54b4fc0b, metal3, [(4.23,19.325,6.17,19.825)])

c_route_0240bd13 = lib.new_cell('c_route_0240bd13')
R(c_route_0240bd13, metal3, [(12.23,4.735,12.79,5.295), (12.23,4.735,12.79,19.885), (8.23,4.795,12.79,5.295), (8.23,19.325,12.79,19.825), (12.23,19.325,12.79,19.885)])
P(c_route_0240bd13, metal3, [(12.79,4.735),(12.79,5.295),(12.79,5.295),(12.79,4.735)],
  [(12.79,19.325),(12.79,19.885),(12.79,19.885),(12.79,19.325)])

c_route_7d434b9e = lib.new_cell('c_route_7d434b9e')
R(c_route_7d434b9e, metal3, [(-11.29,20.065,-10.73,20.625), (-11.29,20.065,-10.73,34.015), (-11.29,20.125,-8.23,20.625), (-11.29,33.455,-8.23,33.955), (-11.29,33.455,-10.73,34.015)])
P(c_route_7d434b9e, metal3, [(-10.73,20.065),(-10.73,20.625),(-10.73,20.625),(-10.73,20.065)],
  [(-10.73,33.455),(-10.73,34.015),(-10.73,34.015),(-10.73,33.455)])

c_route_3fd7761b = lib.new_cell('c_route_3fd7761b')
R(c_route_3fd7761b, via3, [(10.85,20.245,11.11,20.505), (10.85,33.575,11.11,33.835)])
R(c_route_3fd7761b, metal3, [(8.23,20.125,11.23,20.625), (10.73,20.125,11.23,20.625), (8.23,33.455,11.23,33.955), (10.73,33.455,11.23,33.955)])
R(c_route_3fd7761b, metal4, [(10.73,20.125,11.23,20.625), (10.73,20.125,11.23,33.955), (10.73,33.455,11.23,33.955)])
P(c_route_3fd7761b, metal4, [(11.23,20.125),(11.23,20.625),(11.23,20.625),(11.23,20.125)],
  [(11.23,33.455),(11.23,33.955),(11.23,33.955),(11.23,33.455)])

c_route_99223a30 = lib.new_cell('c_route_99223a30')
R(c_route_99223a30, via3, [(2.15,20.245,2.41,20.505), (2.15,33.575,2.41,33.835)])
R(c_route_99223a30, metal3, [(-2.17,20.125,2.53,20.625), (2.03,20.125,2.53,20.625), (1.03,33.455,2.53,33.955), (2.03,33.455,2.53,33.955)])
R(c_route_99223a30, metal4, [(2.03,20.125,2.53,20.625), (2.03,20.125,2.53,33.955), (2.03,33.455,2.53,33.955)])
P(c_route_99223a30, metal4, [(2.53,20.125),(2.53,20.625),(2.53,20.625),(2.53,20.125)],
  [(2.53,33.455),(2.53,33.955),(2.53,33.955),(2.53,33.455)])

c_route_2d4b6942 = lib.new_cell('c_route_2d4b6942')
R(c_route_2d4b6942, via3, [(-2.41,20.245,-2.15,20.505), (-2.41,33.575,-2.15,33.835)])
R(c_route_2d4b6942, metal3, [(-2.53,20.125,2.17,20.625), (-2.53,20.125,-2.03,20.625), (-2.53,33.455,-2.03,33.955), (-2.53,33.455,-1.03,33.955)])
R(c_route_2d4b6942, metal4, [(-2.53,20.125,-2.03,20.625), (-2.53,20.125,-2.03,33.955), (-2.53,33.455,-2.03,33.955)])
P(c_route_2d4b6942, metal4, [(-2.03,20.125),(-2.03,20.625),(-2.03,20.625),(-2.03,20.125)],
  [(-2.03,33.455),(-2.03,33.955),(-2.03,33.955),(-2.03,33.455)])

cmfb_circuit_1786841991 = lib.new_cell('cmfb_circuit_1786841991')
R(cmfb_circuit_1786841991, nwell, [(-11.25,25.645,12.3,37.715)])
A(cmfb_circuit_1786841991, metal2, -8.23, -4.255, 0.5, 8.75, 3, 1, 7.2, 0)
A(cmfb_circuit_1786841991, metal2, -8.23, 29.405, 0.5, 3.75, 3, 1, 7.2, 0)
R(cmfb_circuit_1786841991, metal2, [(-8.23,9.075,-7.73,19.825), (-4.23,9.075,-3.73,19.825), (2.17,9.075,2.67,19.825), (6.17,9.075,6.67,19.825)])
R(cmfb_circuit_1786841991, lvpwell, [(-10.45,-7.215,11.5,23.585)])
cmfb_circuit_1786841991.add(gdstk.Reference(unnamed_99d863ea, (-7.2,31.16)))
cmfb_circuit_1786841991.add(gdstk.Reference(unnamed_b100081d, (0,31.16)))
cmfb_circuit_1786841991.add(gdstk.Reference(unnamed_724cd2d7, (7.2,31.16)))
cmfb_circuit_1786841991.add(gdstk.Reference(unnamed_6b7dd680, (-7.2,14.33)))
cmfb_circuit_1786841991.add(gdstk.Reference(unnamed_0d4af0c3, (-3.2,14.33)))
cmfb_circuit_1786841991.add(gdstk.Reference(unnamed_9ebab524, (3.2,14.33)))
cmfb_circuit_1786841991.add(gdstk.Reference(unnamed_8c9a08c9, (7.2,14.33)))
cmfb_circuit_1786841991.add(gdstk.Reference(unnamed_374ca18e, (0,0)))
cmfb_circuit_1786841991.add(gdstk.Reference(unnamed_d420d16e, (-7.2,0)))
cmfb_circuit_1786841991.add(gdstk.Reference(unnamed_8b59ac5c, (7.2,0)))
cmfb_circuit_1786841991.add(gdstk.Reference(unnamed_7fb3ace8_1, (0.525,8.185)))
cmfb_circuit_1786841991.add(gdstk.Reference(unnamed_f82331e1_1, (0.525,31.68)))
cmfb_circuit_1786841991.add(gdstk.Reference(c_route_06cb7801, (0,0)))
cmfb_circuit_1786841991.add(gdstk.Reference(c_route_da4d12c7_1, (0,0)))
cmfb_circuit_1786841991.add(gdstk.Reference(c_route_38333aae, (0,0)))
cmfb_circuit_1786841991.add(gdstk.Reference(c_route_dfe8e5e8_25, (0,0)))
cmfb_circuit_1786841991.add(gdstk.Reference(straight_route_cdd4bdcd, (0,0)))
cmfb_circuit_1786841991.add(gdstk.Reference(straight_route_e0118fe2, (0,0)))
cmfb_circuit_1786841991.add(gdstk.Reference(straight_route_7a71ad0b, (0,0)))
cmfb_circuit_1786841991.add(gdstk.Reference(straight_route_803cee51, (0,0)))
cmfb_circuit_1786841991.add(gdstk.Reference(straight_route_d71d7a77, (0,0)))
cmfb_circuit_1786841991.add(gdstk.Reference(straight_route_9983e626, (0,0)))
cmfb_circuit_1786841991.add(gdstk.Reference(straight_route_689e5e6a, (0,0)))
cmfb_circuit_1786841991.add(gdstk.Reference(straight_route_f8a33765, (0,0)))
cmfb_circuit_1786841991.add(gdstk.Reference(c_route_64c6eef4, (0,0)))
cmfb_circuit_1786841991.add(gdstk.Reference(straight_route_54b4fc0b, (0,0)))
cmfb_circuit_1786841991.add(gdstk.Reference(c_route_0240bd13, (0,0)))
cmfb_circuit_1786841991.add(gdstk.Reference(c_route_7d434b9e, (0,0)))
cmfb_circuit_1786841991.add(gdstk.Reference(c_route_3fd7761b, (0,0)))
cmfb_circuit_1786841991.add(gdstk.Reference(c_route_99223a30, (0,0)))
cmfb_circuit_1786841991.add(gdstk.Reference(c_route_2d4b6942, (0,0)))

lib.write_gds('cmfb_circuit_1786841991.gds')
